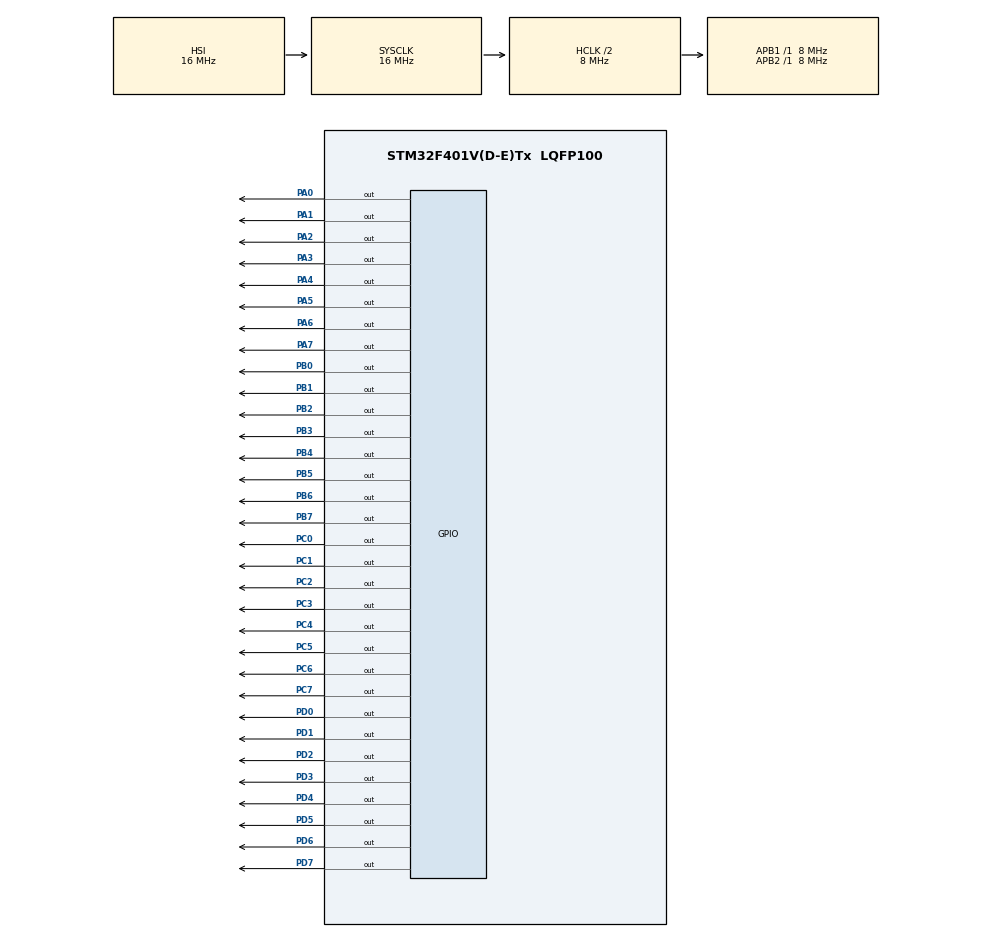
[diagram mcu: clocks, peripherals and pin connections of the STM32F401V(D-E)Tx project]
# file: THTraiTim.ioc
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Mcu.Family=STM32F4
Mcu.Name=STM32F401V(D-E)Tx
Mcu.Package=LQFP100
NVIC.PriorityGroup=NVIC_PRIORITYGROUP_4
PA0-WKUP.Signal=GPIO_Output
PA1.Signal=GPIO_Output
PA2.Signal=GPIO_Output
PA3.Signal=GPIO_Output
PA4.Signal=GPIO_Output
PA5.Signal=GPIO_Output
PA6.Signal=GPIO_Output
PA7.Signal=GPIO_Output
PB0.Signal=GPIO_Output
PB1.Signal=GPIO_Output
PB2.Signal=GPIO_Output
PB3.Signal=GPIO_Output
PB4.Signal=GPIO_Output
PB5.Signal=GPIO_Output
PB6.Signal=GPIO_Output
PB7.Signal=GPIO_Output
PC0.Signal=GPIO_Output
PC1.Signal=GPIO_Output
PC2.Signal=GPIO_Output
PC3.Signal=GPIO_Output
PC4.Signal=GPIO_Output
PC5.Signal=GPIO_Output
PC6.Signal=GPIO_Output
PC7.Signal=GPIO_Output
PD0.Signal=GPIO_Output
PD1.Signal=GPIO_Output
PD2.Signal=GPIO_Output
PD3.Signal=GPIO_Output
PD4.Signal=GPIO_Output
PD5.Signal=GPIO_Output
PD6.Signal=GPIO_Output
PD7.Signal=GPIO_Output
ProjectManager.HeapSize=0x200
ProjectManager.StackSize=0x400
ProjectManager.TargetToolchain=MDK-ARM V5.32
RCC.AHBCLKDivider=RCC_SYSCLK_DIV2
RCC.AHBFreq_Value=8000000
RCC.APB1Freq_Value=8000000
RCC.APB1TimFreq_Value=8000000
RCC.APB2Freq_Value=8000000
RCC.APB2TimFreq_Value=8000000
RCC.CortexFreq_Value=8000000
RCC.HCLKFreq_Value=8000000
RCC.HSE_VALUE=25000000
RCC.HSI_VALUE=16000000
RCC.LSE_VALUE=32768
RCC.SYSCLKFreq_VALUE=16000000
RCC.VCOOutputFreq_Value=192000000
board=custom

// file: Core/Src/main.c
/* USER CODE BEGIN Header */
/**
  ******************************************************************************
  * @file           : main.c
  * @brief          : Main program body
  ******************************************************************************
  * @attention
  *
  * <h2><center>&copy; Copyright (c) 2021 STMicroelectronics.
  * All rights reserved.</center></h2>
  *
  * This software component is licensed by ST under BSD 3-Clause license,
  * the "License"; You may not use this file except in compliance with the
  * License. You may obtain a copy of the License at:
  *                        opensource.org/licenses/BSD-3-Clause
  *
  ******************************************************************************
  */
/* USER CODE END Header */
#include "main.h"
char hieuUngSang[]={0x0001,0x0002,0x0004,0x0008,0x0010,0x0020,0x0040,0x0080};
/* USER CODE BEGIN Includes */
void hieuUngSangXuoi(){
	for(int i=0;i<8;i++)
	{
		HAL_GPIO_TogglePin(GPIOA,hieuUngSang[i]);
		HAL_GPIO_TogglePin(GPIOB,hieuUngSang[i]);
		HAL_GPIO_TogglePin(GPIOC,hieuUngSang[i]);
		HAL_GPIO_TogglePin(GPIOD,hieuUngSang[i]);
		HAL_Delay(200);
	}
}
void hieuUngSangNguoc(){
	for(int i=7;i>=0;i--)
	{
		HAL_GPIO_TogglePin(GPIOA,hieuUngSang[i]);
		HAL_GPIO_TogglePin(GPIOB,hieuUngSang[i]);
		HAL_GPIO_TogglePin(GPIOC,hieuUngSang[i]);
		HAL_GPIO_TogglePin(GPIOD,hieuUngSang[i]);
		HAL_Delay(200);
	}
}
void hieuUngBatDen(){

	//batden
		HAL_GPIO_TogglePin(GPIOA,0xFFFF);
		HAL_GPIO_TogglePin(GPIOB,0xFFFF);
		HAL_GPIO_TogglePin(GPIOC,0xFFFF);
		HAL_GPIO_TogglePin(GPIOD,0xFFFF);
		HAL_Delay(200);

}
/* USER CODE END Includes */

void SystemClock_Config(void);
static void MX_GPIO_Init(void);

int main(void)
{

  /* MCU Configuration--------------------------------------------------------*/

  /* Reset of all peripherals, Initializes the Flash interface and the Systick. */
  HAL_Init();

  /* Configure the system clock */
  SystemClock_Config();

  /* Initialize all configured peripherals */
  MX_GPIO_Init();

  /* Infinite loop */
  while (1)
  {
for(int i=0;i<5;i++)
		{
			hieuUngBatDen();
			HAL_Delay(200);
		}

			for(int i=0;i<5;i++)
		{
			hieuUngSangXuoi();
			HAL_Delay(200);
		}
		for(int i=0;i<5;i++)
		{
			hieuUngSangNguoc();
			HAL_Delay(200);
		}
  }
}

void SystemClock_Config(void)
{
  RCC_OscInitTypeDef RCC_OscInitStruct = {0};
  RCC_ClkInitTypeDef RCC_ClkInitStruct = {0};

  /** Configure the main internal regulator output voltage
  */
  __HAL_RCC_PWR_CLK_ENABLE();
  __HAL_PWR_VOLTAGESCALING_CONFIG(PWR_REGULATOR_VOLTAGE_SCALE2);
  /** Initializes the RCC Oscillators according to the specified parameters
  * in the RCC_OscInitTypeDef structure.
  */
  RCC_OscInitStruct.OscillatorType = RCC_OSCILLATORTYPE_HSI;
  RCC_OscInitStruct.HSIState = RCC_HSI_ON;
  RCC_OscInitStruct.HSICalibrationValue = RCC_HSICALIBRATION_DEFAULT;
  RCC_OscInitStruct.PLL.PLLState = RCC_PLL_NONE;
  if (HAL_RCC_OscConfig(&RCC_OscInitStruct) != HAL_OK)
  {
    Error_Handler();
  }
  /** Initializes the CPU, AHB and APB buses clocks
  */
  RCC_ClkInitStruct.ClockType = RCC_CLOCKTYPE_HCLK|RCC_CLOCKTYPE_SYSCLK
                              |RCC_CLOCKTYPE_PCLK1|RCC_CLOCKTYPE_PCLK2;
  RCC_ClkInitStruct.SYSCLKSource = RCC_SYSCLKSOURCE_HSI;
  RCC_ClkInitStruct.AHBCLKDivider = RCC_SYSCLK_DIV2;
  RCC_ClkInitStruct.APB1CLKDivider = RCC_HCLK_DIV1;
  RCC_ClkInitStruct.APB2CLKDivider = RCC_HCLK_DIV1;

  if (HAL_RCC_ClockConfig(&RCC_ClkInitStruct, FLASH_LATENCY_0) != HAL_OK)
  {
    Error_Handler();
  }
}

static void MX_GPIO_Init(void)
{
  GPIO_InitTypeDef GPIO_InitStruct = {0};

  /* GPIO Ports Clock Enable */
  __HAL_RCC_GPIOC_CLK_ENABLE();
  __HAL_RCC_GPIOA_CLK_ENABLE();
  __HAL_RCC_GPIOB_CLK_ENABLE();
  __HAL_RCC_GPIOD_CLK_ENABLE();

  /*Configure GPIO pin Output Level */
  HAL_GPIO_WritePin(GPIOC, GPIO_PIN_0|GPIO_PIN_1|GPIO_PIN_2|GPIO_PIN_3
                          |GPIO_PIN_4|GPIO_PIN_5|GPIO_PIN_6|GPIO_PIN_7, GPIO_PIN_RESET);

  /*Configure GPIO pin Output Level */
  HAL_GPIO_WritePin(GPIOA, GPIO_PIN_0|GPIO_PIN_1|GPIO_PIN_2|GPIO_PIN_3
                          |GPIO_PIN_4|GPIO_PIN_5|GPIO_PIN_6|GPIO_PIN_7, GPIO_PIN_RESET);

  /*Configure GPIO pin Output Level */
  HAL_GPIO_WritePin(GPIOB, GPIO_PIN_0|GPIO_PIN_1|GPIO_PIN_2|GPIO_PIN_3
                          |GPIO_PIN_4|GPIO_PIN_5|GPIO_PIN_6|GPIO_PIN_7, GPIO_PIN_RESET);

  /*Configure GPIO pin Output Level */
  HAL_GPIO_WritePin(GPIOD, GPIO_PIN_0|GPIO_PIN_1|GPIO_PIN_2|GPIO_PIN_3
                          |GPIO_PIN_4|GPIO_PIN_5|GPIO_PIN_6|GPIO_PIN_7, GPIO_PIN_RESET);

  /*Configure GPIO pins : PC0 PC1 PC2 PC3
                           PC4 PC5 PC6 PC7 */
  GPIO_InitStruct.Pin = GPIO_PIN_0|GPIO_PIN_1|GPIO_PIN_2|GPIO_PIN_3
                          |GPIO_PIN_4|GPIO_PIN_5|GPIO_PIN_6|GPIO_PIN_7;
  GPIO_InitStruct.Mode = GPIO_MODE_OUTPUT_PP;
  GPIO_InitStruct.Pull = GPIO_NOPULL;
  GPIO_InitStruct.Speed = GPIO_SPEED_FREQ_LOW;
  HAL_GPIO_Init(GPIOC, &GPIO_InitStruct);

  /*Configure GPIO pins : PA0 PA1 PA2 PA3
                           PA4 PA5 PA6 PA7 */
  GPIO_InitStruct.Pin = GPIO_PIN_0|GPIO_PIN_1|GPIO_PIN_2|GPIO_PIN_3
                          |GPIO_PIN_4|GPIO_PIN_5|GPIO_PIN_6|GPIO_PIN_7;
  GPIO_InitStruct.Mode = GPIO_MODE_OUTPUT_PP;
  GPIO_InitStruct.Pull = GPIO_NOPULL;
  GPIO_InitStruct.Speed = GPIO_SPEED_FREQ_LOW;
  HAL_GPIO_Init(GPIOA, &GPIO_InitStruct);

  /*Configure GPIO pins : PB0 PB1 PB2 PB3
                           PB4 PB5 PB6 PB7 */
  GPIO_InitStruct.Pin = GPIO_PIN_0|GPIO_PIN_1|GPIO_PIN_2|GPIO_PIN_3
                          |GPIO_PIN_4|GPIO_PIN_5|GPIO_PIN_6|GPIO_PIN_7;
  GPIO_InitStruct.Mode = GPIO_MODE_OUTPUT_PP;
  GPIO_InitStruct.Pull = GPIO_NOPULL;
  GPIO_InitStruct.Speed = GPIO_SPEED_FREQ_LOW;
  HAL_GPIO_Init(GPIOB, &GPIO_InitStruct);

  /*Configure GPIO pins : PD0 PD1 PD2 PD3
                           PD4 PD5 PD6 PD7 */
  GPIO_InitStruct.Pin = GPIO_PIN_0|GPIO_PIN_1|GPIO_PIN_2|GPIO_PIN_3
                          |GPIO_PIN_4|GPIO_PIN_5|GPIO_PIN_6|GPIO_PIN_7;
  GPIO_InitStruct.Mode = GPIO_MODE_OUTPUT_PP;
  GPIO_InitStruct.Pull = GPIO_NOPULL;
  GPIO_InitStruct.Speed = GPIO_SPEED_FREQ_LOW;
  HAL_GPIO_Init(GPIOD, &GPIO_InitStruct);

}

void Error_Handler(void)
{
  __disable_irq();
  while (1)
  {
  }
}

/************************ (C) COPYRIGHT STMicroelectronics *****END OF FILE****/
